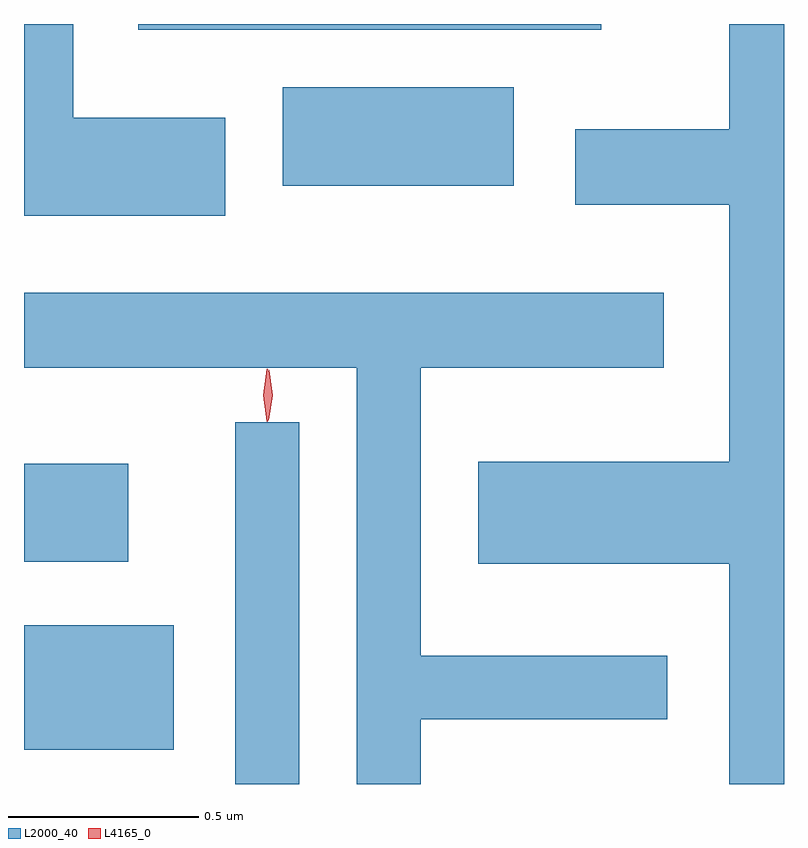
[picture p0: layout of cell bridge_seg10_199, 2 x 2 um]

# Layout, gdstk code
import gdstk
lib = gdstk.Library(unit=1e-6, precision=1e-09)
def R(c, l, rs):  # rectangles x0, y0, x1, y1
    for r in rs: c.add(gdstk.rectangle(r[:2], r[2:], *l))
def P(c, l, *ps):  # polygons
    for p in ps: c.add(gdstk.Polygon(p, *l))
L2000_40 = (2000, 40)
L4165_0 = (4165, 0)

bridge_seg10_199 = lib.new_cell('bridge_seg10_199')
R(bridge_seg10_199, L2000_40, [(1871.991,2141.221,1872.159,2142.173), (1871.435,2141.311,1871.829,2141.639), (1871.435,2141.806,1871.709,2142.064), (1872.116,2142.796,1872.724,2143.054), (1871.736,2143.206,1872.954,2143.221)])
P(bridge_seg10_199, L2000_40, [(1871.964,2142.974),(1871.564,2142.974),(1871.564,2143.221),(1871.435,2143.221),(1871.435,2142.716),(1871.964,2142.716)],
  [(1873.435,2143.221),(1873.291,2143.221),(1873.291,2142.944),(1872.886,2142.944),(1872.886,2142.746),(1873.291,2142.746),(1873.291,2142.069),(1872.631,2142.069),(1872.631,2141.801),(1873.291,2141.801),(1873.291,2141.221),(1873.435,2141.221)],
  [(1872.479,2141.391),(1873.128,2141.391),(1873.128,2141.559),(1872.479,2141.559),(1872.479,2142.316),(1873.119,2142.316),(1873.119,2142.514),(1871.435,2142.514),(1871.435,2142.316),(1872.311,2142.316),(1872.311,2141.221),(1872.479,2141.221)])
P(bridge_seg10_199, L4165_0, [(1872.075,2142.174),(1872.074,2142.175),(1872.065,2142.244),(1872.074,2142.313),(1872.075,2142.314),(1872.076,2142.313),(1872.085,2142.244),(1872.076,2142.175)],
  [(1872.078,2142.178),(1872.069,2142.244),(1872.079,2142.31),(1872.079,2142.311),(1872.08,2142.31),(1872.089,2142.244),(1872.079,2142.178),(1872.079,2142.178)])

lib.write_gds('bridge_seg10_199.gds')
